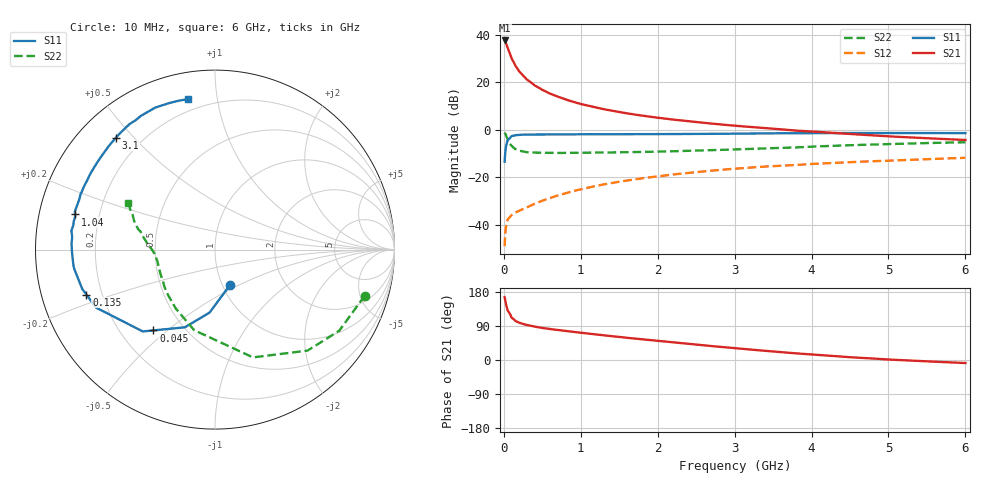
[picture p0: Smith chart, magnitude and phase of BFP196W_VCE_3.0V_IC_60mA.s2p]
! Infineon Technologies  Discrete & RF Semiconductors
! BFP196W
! VCE = 3.0 V,  IC =  60mA
! Common Emitter S-Parameters:  Jan 2016
# GHz  S  MA  R  50
!  f  S11  S21  S12  S22
! GHz  MAG  ANG  MAG  ANG  MAG  ANG  MAG  ANG
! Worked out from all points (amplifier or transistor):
!   210 points, 10 MHz to 6 GHz, reference 50 ohm
!   highest |S21| = 37.5 dB at 10 MHz (marker M1)
!   |S21| within 3 dB of that: start of sweep to 47.71 MHz
!   unconditionally stable (mu >= 1): 543.2 MHz to 3.366 GHz
!   at 185 MHz: K = 0.61, MSG = 29.8 dB, |S12| = -34.2 dB
!   at 1.52 GHz: K = 1.11, MAG = 12.6 dB, |S12| = -21.7 dB
!   at 6 GHz: K = 0.96, MSG = 3.7 dB, |S12| = -11.8 dB
!   S11 on the Smith chart (normalised r, x): 10 MHz: 1.09, -0.45; 45 MHz: 0.34, -0.45; 135 MHz: 0.14, -0.17; 1.04 GHz: 0.11, +0.12; 3.1 GHz: 0.11, +0.45; 6 GHz: 0.13, +0.83
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0.01  0.2143 -67.1  75.24 165.8  0.0036 74.1  0.8732 -17.1
0.02  0.3521 -94.9  71.75 155.2  0.0073 65.6  0.8266 -33.2
0.03  0.4643 -111.2  65.19 145.3  0.0095 61.2  0.7632 -47.5
0.045  0.5664 -127.3  54.86 134.6  0.0122 51.1  0.6573 -64.1
0.05  0.608 -131.4  51.95 130.2  0.0131 48.7  0.6367 -70.6
0.1  0.7375 -154.0  31.73 111.9  0.0162 41.2  0.4637 -104.5
0.135  0.7591 -160.7  24.95 106.4  0.0177 40.3  0.4101 -117.2
0.15  0.7714 -163.5  22.15 103.0  0.0183 40.0  0.3944 -123.6
0.2  0.7815 -168.8  16.84 98.3  0.0199 43.3  0.3648 -135.5
0.24  0.7903 -171.8  14.29 95.5  0.0214 45.9  0.3534 -141.5
0.3  0.7944 -175.2  11.35 92.3  0.0235 48.7  0.3387 -149.0
0.4  0.797 -179.3  8.579 88.0  0.0279 53.0  0.3325 -156.1
0.6  0.7989 175.0  5.76 81.7  0.0369 58.7  0.3275 -164.3
0.8  0.8014 170.5  4.344 76.6  0.0466 61.5  0.327 -168.4
1.02  0.8023 166.2  3.423 71.6  0.0572 62.6  0.3299 -171.5
1.04  0.804 165.9  3.365 71.1  0.0582 62.6  0.33 -171.7
1.44  0.8079 158.7  2.458 62.1  0.0782 62.2  0.3359 -175.2
2.02  0.8131 148.7  1.777 50.0  0.1066 58.9  0.3483 -179.3
3.1  0.8328 131.5  1.184 29.5  0.1565 49.5  0.3919 172.3
4.1  0.8525 117.8  0.901 13.2  0.1953 40.7  0.4496 164.2
5.1  0.8554 107.4  0.715 0.4  0.2285 32.5  0.5054 156.3
6  0.8521 100.3  0.612 -8.0  0.2584 26.1  0.5477 151.7
